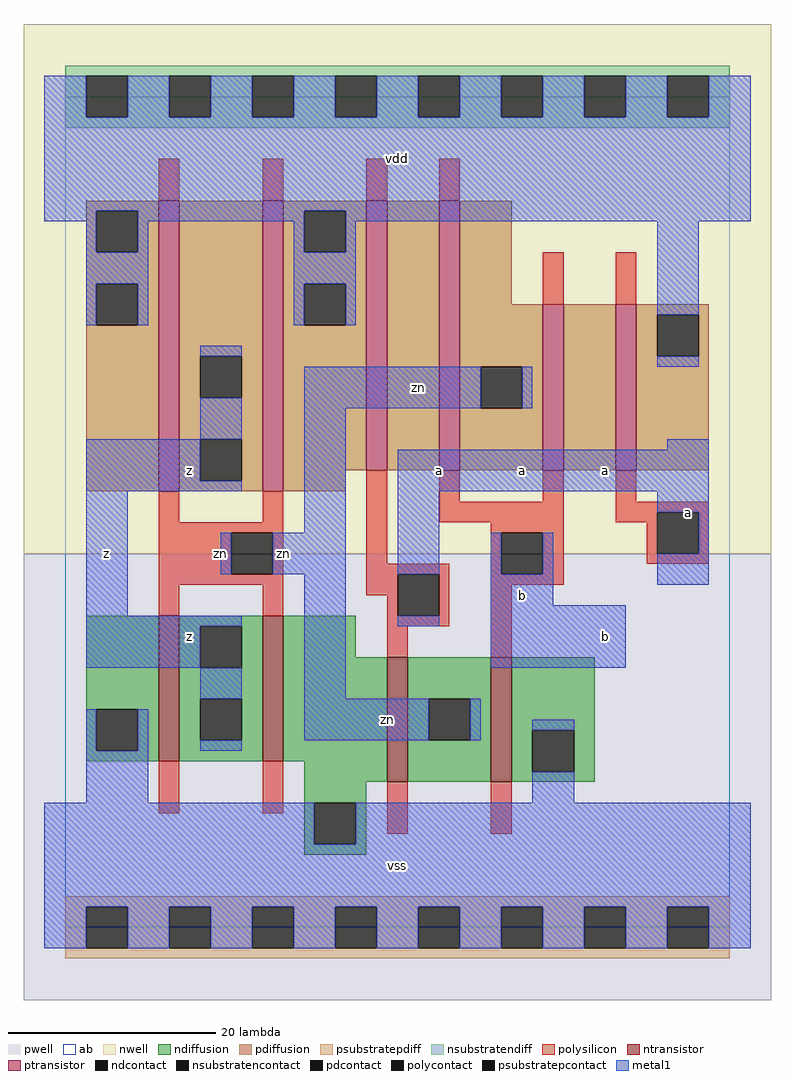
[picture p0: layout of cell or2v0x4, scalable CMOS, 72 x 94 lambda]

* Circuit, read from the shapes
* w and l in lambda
.subckt or2v0x4 a b vdd vss z zn
M1 z zn vss vss nfet w=14 l=2 m=2
M2 zn a vss vss nfet w=12 l=2
M3 vss b zn vss nfet w=12 l=2
M4 z zn vdd vdd pfet w=28 l=2 m=2
M5 n1 a vdd vdd pfet w=26 l=2
M6 zn b n1 vdd pfet w=26 l=2
M7 n2 b zn vdd pfet w=16 l=2
M8 vdd a n2 vdd pfet w=16 l=2
.ends

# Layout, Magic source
magic
tech scmos
<< ab >>
rect 0 0 64 80
<< pwell >>
rect -4 -7 68 36
<< nwell >>
rect -4 36 68 87
<< polysilicon >>
rect 9 70 11 74
rect 19 70 21 74
rect 29 70 31 74
rect 36 70 38 74
rect 46 60 48 65
rect 53 60 55 65
rect 9 39 11 42
rect 19 39 21 42
rect 9 38 21 39
rect 9 34 16 38
rect 20 34 21 38
rect 9 33 21 34
rect 9 30 11 33
rect 19 30 21 33
rect 29 35 31 44
rect 36 41 38 44
rect 46 41 48 44
rect 36 39 48 41
rect 53 41 55 44
rect 53 40 62 41
rect 53 39 57 40
rect 41 38 48 39
rect 29 34 37 35
rect 29 32 32 34
rect 31 30 32 32
rect 36 30 37 34
rect 31 29 37 30
rect 41 34 42 38
rect 46 34 48 38
rect 56 36 57 39
rect 61 36 62 40
rect 56 35 62 36
rect 41 33 48 34
rect 31 26 33 29
rect 41 26 43 33
rect 9 11 11 16
rect 19 11 21 16
rect 31 9 33 14
rect 41 9 43 14
<< ndiffusion >>
rect 2 21 9 30
rect 2 17 3 21
rect 7 17 9 21
rect 2 16 9 17
rect 11 29 19 30
rect 11 25 13 29
rect 17 25 19 29
rect 11 22 19 25
rect 11 18 13 22
rect 17 18 19 22
rect 11 16 19 18
rect 21 26 28 30
rect 21 16 31 26
rect 23 14 31 16
rect 33 22 41 26
rect 33 18 35 22
rect 39 18 41 22
rect 33 14 41 18
rect 43 19 51 26
rect 43 15 45 19
rect 49 15 51 19
rect 43 14 51 15
rect 23 12 29 14
rect 23 8 24 12
rect 28 8 29 12
rect 23 7 29 8
<< pdiffusion >>
rect 2 69 9 70
rect 2 65 3 69
rect 7 65 9 69
rect 2 62 9 65
rect 2 58 3 62
rect 7 58 9 62
rect 2 42 9 58
rect 11 55 19 70
rect 11 51 13 55
rect 17 51 19 55
rect 11 47 19 51
rect 11 43 13 47
rect 17 43 19 47
rect 11 42 19 43
rect 21 69 29 70
rect 21 65 23 69
rect 27 65 29 69
rect 21 62 29 65
rect 21 58 23 62
rect 27 58 29 62
rect 21 44 29 58
rect 31 44 36 70
rect 38 60 43 70
rect 38 54 46 60
rect 38 50 40 54
rect 44 50 46 54
rect 38 44 46 50
rect 48 44 53 60
rect 55 59 62 60
rect 55 55 57 59
rect 61 55 62 59
rect 55 44 62 55
rect 21 42 27 44
<< metal1 >>
rect -2 78 2 82
rect 6 78 10 82
rect 14 78 18 82
rect 22 78 26 82
rect 30 78 34 82
rect 38 78 42 82
rect 46 78 50 82
rect 54 78 58 82
rect 62 78 66 82
rect -2 69 66 78
rect -2 68 3 69
rect 2 65 3 68
rect 7 68 23 69
rect 7 65 8 68
rect 2 62 8 65
rect 2 58 3 62
rect 7 58 8 62
rect 22 65 23 68
rect 27 68 66 69
rect 27 65 28 68
rect 22 62 28 65
rect 22 58 23 62
rect 27 58 28 62
rect 57 59 61 68
rect 13 55 17 56
rect 57 54 61 55
rect 13 47 17 51
rect 2 43 13 47
rect 2 42 17 43
rect 23 50 40 54
rect 44 50 45 54
rect 2 30 6 42
rect 23 38 27 50
rect 58 46 62 47
rect 15 34 16 38
rect 20 34 27 38
rect 2 29 17 30
rect 2 25 13 29
rect 13 22 17 25
rect 2 17 3 21
rect 7 17 8 21
rect 23 22 27 34
rect 32 42 62 46
rect 32 34 36 42
rect 57 40 62 42
rect 32 29 36 30
rect 41 34 42 38
rect 46 34 47 38
rect 41 31 47 34
rect 61 36 62 40
rect 57 33 62 36
rect 41 25 54 31
rect 23 18 35 22
rect 39 18 40 22
rect 45 19 49 20
rect 13 17 17 18
rect 2 12 8 17
rect 45 12 49 15
rect -2 8 24 12
rect 28 8 66 12
rect -2 2 66 8
rect -2 -2 2 2
rect 6 -2 10 2
rect 14 -2 18 2
rect 22 -2 26 2
rect 30 -2 34 2
rect 38 -2 42 2
rect 46 -2 50 2
rect 54 -2 58 2
rect 62 -2 66 2
<< ntransistor >>
rect 9 16 11 30
rect 19 16 21 30
rect 31 14 33 26
rect 41 14 43 26
<< ptransistor >>
rect 9 42 11 70
rect 19 42 21 70
rect 29 44 31 70
rect 36 44 38 70
rect 46 44 48 60
rect 53 44 55 60
<< polycontact >>
rect 16 34 20 38
rect 32 30 36 34
rect 42 34 46 38
rect 57 36 61 40
<< ndcontact >>
rect 3 17 7 21
rect 13 25 17 29
rect 13 18 17 22
rect 35 18 39 22
rect 45 15 49 19
rect 24 8 28 12
<< pdcontact >>
rect 3 65 7 69
rect 3 58 7 62
rect 13 51 17 55
rect 13 43 17 47
rect 23 65 27 69
rect 23 58 27 62
rect 40 50 44 54
rect 57 55 61 59
<< psubstratepcontact >>
rect 2 -2 6 2
rect 10 -2 14 2
rect 18 -2 22 2
rect 26 -2 30 2
rect 34 -2 38 2
rect 42 -2 46 2
rect 50 -2 54 2
rect 58 -2 62 2
<< nsubstratencontact >>
rect 2 78 6 82
rect 10 78 14 82
rect 18 78 22 82
rect 26 78 30 82
rect 34 78 38 82
rect 42 78 46 82
rect 50 78 54 82
rect 58 78 62 82
<< psubstratepdiff >>
rect 0 2 64 3
rect 0 -2 2 2
rect 6 -2 10 2
rect 14 -2 18 2
rect 22 -2 26 2
rect 30 -2 34 2
rect 38 -2 42 2
rect 46 -2 50 2
rect 54 -2 58 2
rect 62 -2 64 2
rect 0 -3 64 -2
<< nsubstratendiff >>
rect 0 82 64 83
rect 0 78 2 82
rect 6 78 10 82
rect 14 78 18 82
rect 22 78 26 82
rect 30 78 34 82
rect 38 78 42 82
rect 46 78 50 82
rect 54 78 58 82
rect 62 78 64 82
rect 0 77 64 78
<< labels >>
rlabel polysilicon 15 36 15 36 6 zn
rlabel metal1 4 36 4 36 6 z
rlabel metal1 12 28 12 28 6 z
rlabel metal1 12 44 12 44 6 z
rlabel metal1 32 6 32 6 6 vss
rlabel metal1 21 36 21 36 6 zn
rlabel metal1 36 44 36 44 6 a
rlabel metal1 32 74 32 74 6 vdd
rlabel metal1 31 20 31 20 6 zn
rlabel metal1 44 32 44 32 6 b
rlabel metal1 44 44 44 44 6 a
rlabel metal1 34 52 34 52 6 zn
rlabel metal1 52 28 52 28 6 b
rlabel metal1 52 44 52 44 6 a
rlabel metal1 60 40 60 40 6 a
<< end >>
